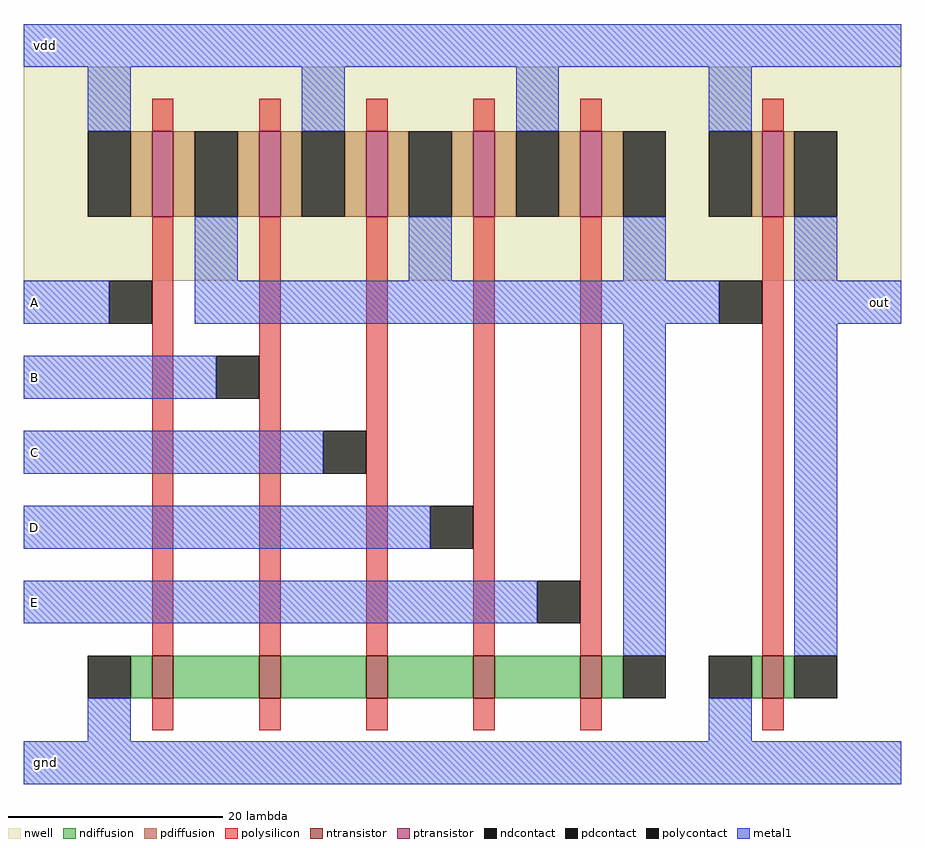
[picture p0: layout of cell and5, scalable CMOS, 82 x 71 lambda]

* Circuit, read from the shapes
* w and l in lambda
.subckt and5 A B C D E gnd out vdd
M1 n1 A gnd VSUBS nfet w=4 l=2
M2 n2 B n1 VSUBS nfet w=4 l=2
M3 n3 C n2 VSUBS nfet w=4 l=2
M4 n4 D n3 VSUBS nfet w=4 l=2
M5 n5 E n4 VSUBS nfet w=4 l=2
M6 out n5 gnd VSUBS nfet w=4 l=2
M7 n5 A vdd n6 pfet w=8 l=2
M8 vdd B n5 n6 pfet w=8 l=2
M9 n5 C vdd n6 pfet w=8 l=2
M10 vdd D n5 n6 pfet w=8 l=2
M11 n5 E vdd n6 pfet w=8 l=2
M12 out n5 vdd n6 pfet w=8 l=2
.ends

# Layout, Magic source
magic
tech scmos
<< nwell >>
rect 0 0 82 20
<< ntransistor >>
rect 12 -39 14 -35
rect 22 -39 24 -35
rect 32 -39 34 -35
rect 42 -39 44 -35
rect 52 -39 54 -35
rect 69 -39 71 -35
<< ptransistor >>
rect 12 6 14 14
rect 22 6 24 14
rect 32 6 34 14
rect 42 6 44 14
rect 52 6 54 14
rect 69 6 71 14
<< ndiffusion >>
rect 10 -39 12 -35
rect 14 -39 22 -35
rect 24 -39 32 -35
rect 34 -39 42 -35
rect 44 -39 52 -35
rect 54 -39 56 -35
rect 68 -39 69 -35
rect 71 -39 72 -35
<< pdiffusion >>
rect 10 6 12 14
rect 14 6 16 14
rect 20 6 22 14
rect 24 6 26 14
rect 30 6 32 14
rect 34 6 36 14
rect 40 6 42 14
rect 44 6 46 14
rect 50 6 52 14
rect 54 6 56 14
rect 68 6 69 14
rect 71 6 72 14
<< ndcontact >>
rect 6 -39 10 -35
rect 56 -39 60 -35
rect 64 -39 68 -35
rect 72 -39 76 -35
<< pdcontact >>
rect 6 6 10 14
rect 16 6 20 14
rect 26 6 30 14
rect 36 6 40 14
rect 46 6 50 14
rect 56 6 60 14
rect 64 6 68 14
rect 72 6 76 14
<< polysilicon >>
rect 12 14 14 17
rect 22 14 24 17
rect 32 14 34 17
rect 42 14 44 17
rect 52 14 54 17
rect 69 14 71 17
rect 12 -35 14 6
rect 22 -35 24 6
rect 32 -35 34 6
rect 42 -35 44 6
rect 52 -35 54 6
rect 69 -35 71 6
rect 12 -42 14 -39
rect 22 -42 24 -39
rect 32 -42 34 -39
rect 42 -42 44 -39
rect 52 -42 54 -39
rect 69 -42 71 -39
<< polycontact >>
rect 8 -4 12 0
rect 18 -11 22 -7
rect 28 -18 32 -14
rect 38 -25 42 -21
rect 48 -32 52 -28
rect 65 -4 69 0
<< metal1 >>
rect 0 20 82 24
rect 6 14 10 20
rect 26 14 30 20
rect 46 14 50 20
rect 64 14 68 20
rect 16 0 20 6
rect 36 0 40 6
rect 56 0 60 6
rect 72 0 76 6
rect 0 -4 8 0
rect 16 -4 65 0
rect 72 -4 82 0
rect 0 -11 18 -7
rect 0 -18 28 -14
rect 0 -25 38 -21
rect 0 -32 48 -28
rect 56 -35 60 -4
rect 72 -35 76 -4
rect 6 -43 10 -39
rect 64 -43 68 -39
rect 0 -47 82 -43
<< labels >>
rlabel metal1 1 -9 1 -9 3 B
rlabel metal1 2 22 2 22 4 vdd
rlabel metal1 1 -23 1 -23 3 D
rlabel metal1 1 -16 1 -16 3 C
rlabel metal1 1 -2 1 -2 3 A
rlabel metal1 80 -2 80 -2 7 out
rlabel metal1 2 -45 2 -45 2 gnd
rlabel metal1 1 -30 1 -30 3 E
<< end >>
